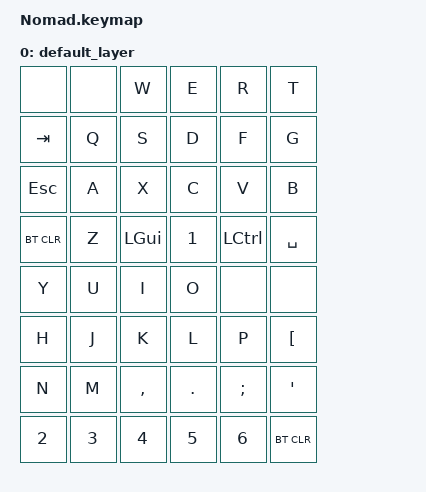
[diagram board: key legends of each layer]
#include <behaviors.dtsi>
#include <dt-bindings/zmk/keys.h>
#include <dt-bindings/zmk/bt.h>

/ {  
keymap {
  compatible = "zmk,keymap";

  default_layer {
    bindings = <
//                           ╭───────────┬───────────┬───────────┬───────────╮
       &none       &none       &kp W       &kp E       &kp R       &kp T      
//   ╭─────-─────┬─────-─────┼─────-─────┼─────-─────┼─────-─────┼─────-─────┤
       &kp TAB     &kp Q       &kp S       &kp D       &kp F       &kp G      
//   ├─────-─────┼─────-─────┼─────-─────┼─────-─────┼─────-─────┼─────-─────┤
       &kp ESC     &kp A       &kp X       &kp C       &kp V       &kp B      
//   ├─────-─────┼─────-─────┼─────-─────┼─────-─────┼─────-─────┼─────-─────┤
       &bt BT_CLR   &kp Z       &kp LGUI    &kp N1      &kp LCTRL   &kp SPACE 
//   ╰─────-─────┴─────-─────┴─────-─────┴─────-─────┴─────-─────┴─────-─────╯
//   ╭───────────┬───────────┬───────────┬───────────╮
       &kp Y       &kp U       &kp I       &kp O       &none       &none     
//   ├─────-─────┬─────-─────┼─────-─────┼─────-─────┼─────-─────┼─────-─────╮
       &kp H       &kp J       &kp K       &kp L       &kp P       &kp LBKT  
//   ├─────-─────┼─────-─────┼─────-─────┼─────-─────┼─────-─────┼─────-─────┤
       &kp N       &kp M       &kp COMMA   &kp DOT     &kp SEMI    &kp SQT   
//   ├─────-─────┼─────-─────┼─────-─────┼─────-─────┼─────-─────┼─────-─────┤
        &kp N2      &kp N3      &kp N4      &kp N5      &kp N6      &bt BT_CLR
//   ╰─────-─────┴─────-─────┴─────-─────┴─────-─────┴─────-─────┴─────-─────╯


    >;
  }; 

};
};
//           ╭────┬────┬────┬────╮╭────┬────┬────┬────╮
//  Base:    │ W  │ E  │ R  │ T  ││ Y  │ U  │ I  │ O  │
// ╭────┬────┼────┼────┼────┼────┤├────┼────┼────┼────┼────┬────╮
// │tab │ Q  │ S  │ D  │ F  │ G  ││ H  │ J  │ K  │ L  │ P  │    │
// ├────┼────┼────┼────┼────┼────┤├────┼────┼────┼────┼────┼────┤
// │esc │ A  │ X  │ C  │ V  │ B  ││ N  │ M  │ ,  │ .  │ ;  │entr│
// ├────┼────┼────┼────┼────┼────┤├────┼────┼────┼────┼────┼────┤
// │shft│ Z  │meta│:)  │ctrl│spc ││bspc│alt │    │    │ /  │    │
// ╰────┴────┴────┴────┴────┴────╯╰────┴────┴────┴────┴────┴────╯
